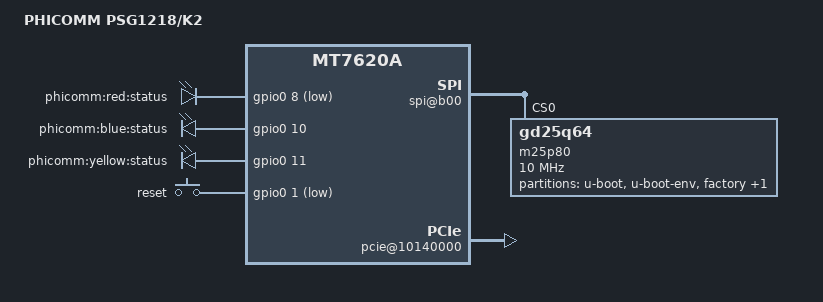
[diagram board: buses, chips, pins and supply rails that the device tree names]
/dts-v1/;

/include/ "mt7620a.dtsi"

/ {
	compatible = "PSG1218", "ralink,mt7620a-soc";
	model = "PHICOMM PSG1218/K2";

	palmbus@10000000 {
		gpio0: gpio@600 {
			status = "okay";
		};

		spi@b00 {
			status = "okay";

			m25p80@0 {
				#address-cells = <1>;
				#size-cells = <1>;
				compatible = "gd25q64";
				reg = <0 0>;
				linux,modalias = "m25p80", "gd25q64";
				spi-max-frequency = <10000000>;

				partition@0 {
					label = "u-boot";
					reg = <0x0 0x30000>;
				};

				partition@30000 {
					label = "u-boot-env";
					reg = <0x30000 0x10000>;
					read-only;
				};

				factory: partition@40000 {
					label = "factory";
					reg = <0x40000 0x10000>;
					read-only;
				};

				partition@50000 {
					label = "firmware";
					reg = <0x50000 0x7b0000>;
				};
			};
		};
	};

	ethernet@10100000 {
		pinctrl-names = "default";
		pinctrl-0 = <&ephy_pins>;
		mtd-mac-address = <&factory 0x28>;
		ralink,port-map = "llllw";
	};

	wmac@10180000 {
		ralink,mtd-eeprom = <&factory 0>;
	};

	pcie@10140000 {
		status = "okay";

		pcie-bridge {
			mt76@0,0 {
				reg = <0x0000 0 0 0 0>;
				device_type = "pci";
				mediatek,mtd-eeprom = <&factory 0x8000>;
				mediatek,2ghz = <0>;
			};
		};
	};

	pinctrl {
		state_default: pinctrl0 {
			gpio {
				ralink,group = "i2c", "uartf";
				ralink,function = "gpio";
			};

			pa {
				ralink,group = "pa";
				ralink,function = "pa";
			};
		};
	};

	gpio-leds {
		compatible = "gpio-leds";

		red {
			label = "phicomm:red:status";
			gpios = <&gpio0 8 1>;
		};

		blue {
			label = "phicomm:blue:status";
			gpios = <&gpio0 10 0>;
		};

		yellow {
			label = "phicomm:yellow:status";
			gpios = <&gpio0 11 0>;
		};
	};

	gpio-keys-polled {
		compatible = "gpio-keys-polled";
		#address-cells = <1>;
		#size-cells = <0>;
		poll-interval = <20>;

		reset {
			label = "reset";
			gpios = <&gpio0 1 1>;
			linux,code = <0x198>;
		};
	};
};
